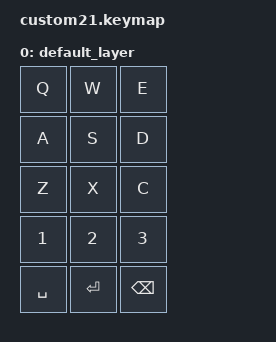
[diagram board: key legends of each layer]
#include <behaviors.dtsi>
#include <dt-bindings/zmk/keys.h>
#include <dt-bindings/zmk/bt.h>

/ {
    keymap {
        compatible = "zmk,keymap";

        default_layer {
            bindings = <
                &kp Q     &kp W     &kp E
                &kp A     &kp S     &kp D
                &kp Z     &kp X     &kp C
                &kp N1    &kp N2    &kp N3
                &kp SPACE &kp ENTER &kp BSPC
            >;
        };
    };
};
